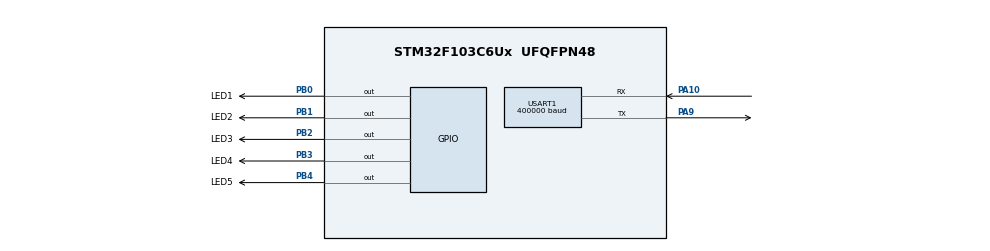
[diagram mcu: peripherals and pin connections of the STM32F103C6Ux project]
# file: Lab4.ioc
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Mcu.Family=STM32F1
Mcu.Name=STM32F103C6Ux
Mcu.Package=UFQFPN48
NVIC.PriorityGroup=NVIC_PRIORITYGROUP_4
NVIC.TIM2_IRQn=true\:0\:0\:false\:false\:true\:true\:true\:true
PA10.Mode=Asynchronous
PA10.Signal=USART1_RX
PA9.Mode=Asynchronous
PA9.Signal=USART1_TX
PB0.GPIO_Label=LED1
PB0.Signal=GPIO_Output
PB1.GPIO_Label=LED2
PB1.Signal=GPIO_Output
PB2.GPIO_Label=LED3
PB2.Signal=GPIO_Output
PB3.GPIO_Label=LED4
PB3.Signal=GPIO_Output
PB4.GPIO_Label=LED5
PB4.Signal=GPIO_Output
ProjectManager.HeapSize=0x200
ProjectManager.StackSize=0x400
ProjectManager.TargetToolchain=STM32CubeIDE
RCC.APB1Freq_Value=8000000
RCC.APB2Freq_Value=8000000
TIM2.Period=9
TIM2.Prescaler=7999
USART1.BaudRate=400000
USART1.VirtualMode=VM_ASYNC
VP_SYS_VS_ND.Mode=No_Debug
VP_TIM2_VS_ClockSourceINT.Mode=Internal
board=custom

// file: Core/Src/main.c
/* USER CODE BEGIN Header */
/**
  ******************************************************************************
  * @file           : main.c
  * @brief          : Main program body
  ******************************************************************************
  * @attention
  *
  * Copyright (c) 2026 STMicroelectronics.
  * All rights reserved.
  *
  * This software is licensed under terms that can be found in the LICENSE file
  * in the root directory of this software component.
  * If no LICENSE file comes with this software, it is provided AS-IS.
  *
  ******************************************************************************
  */
/* USER CODE END Header */
#include "main.h"
/* USER CODE BEGIN Includes */
#include "scheduler.h"
#include <stdio.h>
#include <string.h>
/* USER CODE END Includes */

TIM_HandleTypeDef htim2;

UART_HandleTypeDef huart1;

/* USER CODE BEGIN PV */
static uint32_t taskToDeleteID;
/* USER CODE END PV */

void SystemClock_Config(void);
static void MX_GPIO_Init(void);
static void MX_TIM2_Init(void);
static void MX_USART1_UART_Init(void);
/* USER CODE BEGIN PFP */
static void UART_Print(const char *message);
static void Print_Event(const char *name);
static void Task_10ms(void);
static void Task_500ms(void);
static void Task_1000ms(void);
static void Task_1500ms(void);
static void Task_2000ms(void);
static void Task_2500ms(void);
static void Task_Delete_Demo(void);
static void Task_Cancelled(void);
/* USER CODE END PFP */

/* USER CODE BEGIN 0 */
static void UART_Print(const char *message)
{
    HAL_UART_Transmit(&huart1,
                      (uint8_t *)message,
                      strlen(message),
                      HAL_MAX_DELAY);
}

static void Print_Event(const char *name)
{
    char message[96];

    int length = snprintf(message,
                          sizeof(message),
                          "%s: %lu ms\r\n",
                          name,
                          (unsigned long)get_time());

    if (length > 0 && length < (int)sizeof(message))
    {
        UART_Print(message);
    }
}

static void Task_All_LEDs_Off(void)
{
    HAL_GPIO_WritePin(GPIOB,
                      LED1_Pin | LED2_Pin | LED3_Pin | LED4_Pin | LED5_Pin,
                      GPIO_PIN_SET);
}

static void Task_10ms(void)
{
    Print_Event("10ms callback");
}

static void Task_500ms(void)
{
    HAL_GPIO_WritePin(LED1_GPIO_Port, LED1_Pin, GPIO_PIN_RESET);
    Print_Event("500ms periodic task RED LED");
    SCH_Add_Task(Task_All_LEDs_Off, 10, 0);
}

static void Task_1000ms(void)
{
    HAL_GPIO_WritePin(LED2_GPIO_Port, LED2_Pin, GPIO_PIN_RESET);
    Print_Event("1000ms periodic task YELLOW LED");
    SCH_Add_Task(Task_All_LEDs_Off, 10, 0);
}

static void Task_1500ms(void)
{
    HAL_GPIO_WritePin(LED3_GPIO_Port, LED3_Pin, GPIO_PIN_RESET);
    Print_Event("1500ms periodic task GREEN LED");
    SCH_Add_Task(Task_All_LEDs_Off, 10, 0);
}

static void Task_2000ms(void)
{
    HAL_GPIO_WritePin(LED4_GPIO_Port, LED4_Pin, GPIO_PIN_RESET);
    Print_Event("2000ms periodic task BLUE LED");
    SCH_Add_Task(Task_All_LEDs_Off, 10, 0);
}

static void Task_2500ms(void)
{
    HAL_GPIO_WritePin(LED5_GPIO_Port, LED5_Pin, GPIO_PIN_RESET);
    Print_Event("2500ms periodic task ORANGE LED");
    SCH_Add_Task(Task_All_LEDs_Off, 10, 0);
}

static void Task_Delete_Demo(void)
{
    uint8_t result = SCH_Delete_Task(taskToDeleteID);

    if (result)
    {
        Print_Event("Delete task successful");
    }
    else
    {
        Print_Event("Delete task failed");
    }
}

static void Task_Cancelled(void)
{
    Print_Event("ERROR: Cancelled task executed");
}

/* USER CODE END 0 */

int main(void)
{

  /* MCU Configuration--------------------------------------------------------*/

  /* Reset of all peripherals, Initializes the Flash interface and the Systick. */
  HAL_Init();

  /* Configure the system clock */
  SystemClock_Config();

  /* Initialize all configured peripherals */
  MX_GPIO_Init();
  MX_TIM2_Init();
  MX_USART1_UART_Init();

  /* USER CODE BEGIN 2 */
  SCH_Init();

  SCH_Add_Task(Task_10ms, 1, 1);

  SCH_Add_Task(Task_500ms, 50, 50);
  SCH_Add_Task(Task_1000ms, 100, 100);
  SCH_Add_Task(Task_1500ms, 150, 150);
  SCH_Add_Task(Task_2000ms, 200, 200);
  SCH_Add_Task(Task_2500ms, 250, 250);

  taskToDeleteID = SCH_Add_Task(Task_Cancelled, 150, 0);
  SCH_Add_Task(Task_Delete_Demo, 100, 0);

  HAL_TIM_Base_Start_IT(&htim2);
  /* USER CODE END 2 */

  /* Infinite loop */

  while (1)
  {

    /* USER CODE BEGIN 3 */
    SCH_Dispatch_Tasks();
  }
  /* USER CODE END 3 */
}

void SystemClock_Config(void)
{
  RCC_OscInitTypeDef RCC_OscInitStruct = {0};
  RCC_ClkInitTypeDef RCC_ClkInitStruct = {0};

  /** Initializes the RCC Oscillators according to the specified parameters
  * in the RCC_OscInitTypeDef structure.
  */
  RCC_OscInitStruct.OscillatorType = RCC_OSCILLATORTYPE_HSI;
  RCC_OscInitStruct.HSIState = RCC_HSI_ON;
  RCC_OscInitStruct.HSICalibrationValue = RCC_HSICALIBRATION_DEFAULT;
  RCC_OscInitStruct.PLL.PLLState = RCC_PLL_NONE;

  if (HAL_RCC_OscConfig(&RCC_OscInitStruct) != HAL_OK)
  {
    Error_Handler();
  }

  /** Initializes the CPU, AHB and APB buses clocks
  */
  RCC_ClkInitStruct.ClockType = RCC_CLOCKTYPE_HCLK|RCC_CLOCKTYPE_SYSCLK
                              |RCC_CLOCKTYPE_PCLK1|RCC_CLOCKTYPE_PCLK2;
  RCC_ClkInitStruct.SYSCLKSource = RCC_SYSCLKSOURCE_HSI;
  RCC_ClkInitStruct.AHBCLKDivider = RCC_SYSCLK_DIV1;
  RCC_ClkInitStruct.APB1CLKDivider = RCC_HCLK_DIV1;
  RCC_ClkInitStruct.APB2CLKDivider = RCC_HCLK_DIV1;

  if (HAL_RCC_ClockConfig(&RCC_ClkInitStruct, FLASH_LATENCY_0) != HAL_OK)
  {
    Error_Handler();
  }
}

static void MX_TIM2_Init(void)
{

  TIM_ClockConfigTypeDef sClockSourceConfig = {0};
  TIM_MasterConfigTypeDef sMasterConfig = {0};

  htim2.Instance = TIM2;
  htim2.Init.Prescaler = 7999;
  htim2.Init.CounterMode = TIM_COUNTERMODE_UP;
  htim2.Init.Period = 9;
  htim2.Init.ClockDivision = TIM_CLOCKDIVISION_DIV1;
  htim2.Init.AutoReloadPreload = TIM_AUTORELOAD_PRELOAD_DISABLE;

  if (HAL_TIM_Base_Init(&htim2) != HAL_OK)
  {
    Error_Handler();
  }

  sClockSourceConfig.ClockSource = TIM_CLOCKSOURCE_INTERNAL;

  if (HAL_TIM_ConfigClockSource(&htim2, &sClockSourceConfig) != HAL_OK)
  {
    Error_Handler();
  }

  sMasterConfig.MasterOutputTrigger = TIM_TRGO_RESET;
  sMasterConfig.MasterSlaveMode = TIM_MASTERSLAVEMODE_DISABLE;

  if (HAL_TIMEx_MasterConfigSynchronization(&htim2, &sMasterConfig) != HAL_OK)
  {
    Error_Handler();
  }

}

static void MX_USART1_UART_Init(void)
{

  huart1.Instance = USART1;
  huart1.Init.BaudRate = 400000;
  huart1.Init.WordLength = UART_WORDLENGTH_8B;
  huart1.Init.StopBits = UART_STOPBITS_1;
  huart1.Init.Parity = UART_PARITY_NONE;
  huart1.Init.Mode = UART_MODE_TX_RX;
  huart1.Init.HwFlowCtl = UART_HWCONTROL_NONE;
  huart1.Init.OverSampling = UART_OVERSAMPLING_16;

  if (HAL_UART_Init(&huart1) != HAL_OK)
  {
    Error_Handler();
  }

}

static void MX_GPIO_Init(void)
{
  GPIO_InitTypeDef GPIO_InitStruct = {0};

  /* GPIO Ports Clock Enable */
  __HAL_RCC_GPIOB_CLK_ENABLE();
  __HAL_RCC_GPIOA_CLK_ENABLE();

  /*Configure GPIO pin Output Level */
  HAL_GPIO_WritePin(GPIOB, LED1_Pin|LED2_Pin|LED3_Pin|LED4_Pin
                          |LED5_Pin, GPIO_PIN_SET);

  /*Configure GPIO pins : LED1_Pin LED2_Pin LED3_Pin LED4_Pin
                           LED5_Pin */
  GPIO_InitStruct.Pin = LED1_Pin|LED2_Pin|LED3_Pin|LED4_Pin
                          |LED5_Pin;
  GPIO_InitStruct.Mode = GPIO_MODE_OUTPUT_PP;
  GPIO_InitStruct.Pull = GPIO_NOPULL;
  GPIO_InitStruct.Speed = GPIO_SPEED_FREQ_LOW;
  HAL_GPIO_Init(GPIOB, &GPIO_InitStruct);

}

/* USER CODE BEGIN 4 */

void HAL_TIM_PeriodElapsedCallback(TIM_HandleTypeDef *htim)
{
  if (htim->Instance == TIM2)
  {
    SCH_Update();
  }
}

/* USER CODE END 4 */

void Error_Handler(void)
{
  __disable_irq();
  while (1)
  {
  }
}
